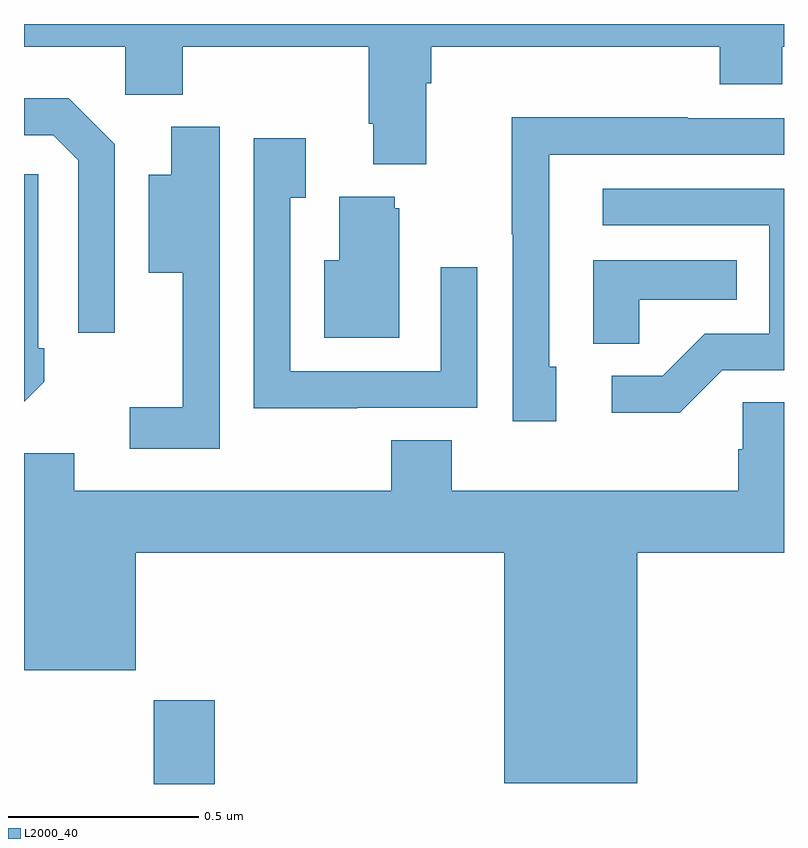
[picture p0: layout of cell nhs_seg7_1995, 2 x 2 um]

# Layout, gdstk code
import gdstk
lib = gdstk.Library(unit=1e-6, precision=1e-09)
def R(c, l, rs):  # rectangles x0, y0, x1, y1
    for r in rs: c.add(gdstk.rectangle(r[:2], r[2:], *l))
def P(c, l, *ps):  # polygons
    for p in ps: c.add(gdstk.Polygon(p, *l))
L2000_40 = (2000, 40)

nhs_seg7_1995 = lib.new_cell('nhs_seg7_1995')
R(nhs_seg7_1995, L2000_40, [(139.342,1008,139.502,1008.22)])
P(nhs_seg7_1995, L2000_40, [(140.059,1009.844),(140.072,1009.844),(140.072,1009.94),(140.831,1009.94),(140.831,1009.841),(140.996,1009.841),(140.996,1009.94),(141,1009.94),(141,1010),(139,1010),(139,1009.94),(139.266,1009.94),(139.266,1009.814),(139.418,1009.814),(139.418,1009.94),(139.907,1009.94),(139.907,1009.738),(139.919,1009.738),(139.919,1009.631),(140.059,1009.631)],
  [(139.239,1009.683),(139.118,1009.804),(139,1009.804),(139,1009.707),(139.077,1009.707),(139.143,1009.641),(139.143,1009.188),(139.239,1009.188)],
  [(140.401,1009.098),(140.382,1009.098),(140.382,1009.656),(141,1009.656),(141,1009.752),(140.747,1009.752),(140.747,1009.754),(140.284,1009.754),(140.284,1009.447),(140.286,1009.447),(140.286,1008.954),(140.401,1008.954)],
  [(139.515,1009.729),(139.388,1009.729),(139.388,1009.603),(139.328,1009.603),(139.328,1009.346),(139.418,1009.346),(139.418,1008.991),(139.278,1008.991),(139.278,1008.882),(139.515,1008.882)],
  [(139.877,1008.99),(140.193,1008.99),(140.193,1009.36),(140.097,1009.36),(140.097,1009.086),(139.701,1009.086),(139.701,1009.543),(139.741,1009.543),(139.741,1009.699),(139.605,1009.699),(139.605,1008.989),(139.877,1008.989)],
  [(139.053,1009.059),(139.053,1009.147),(139.038,1009.147),(139.038,1009.605),(139,1009.605),(139,1009.006)],
  [(140.838,1009.089),(141,1009.089),(141,1009.566),(140.523,1009.566),(140.523,1009.47),(140.961,1009.47),(140.961,1009.185),(140.792,1009.185),(140.681,1009.074),(140.547,1009.074),(140.547,1008.977),(140.725,1008.977)],
  [(139.987,1009.515),(139.976,1009.515),(139.976,1009.546),(139.829,1009.546),(139.829,1009.378),(139.79,1009.378),(139.79,1009.175),(139.987,1009.175)],
  [(140.619,1009.274),(140.876,1009.274),(140.876,1009.378),(140.498,1009.378),(140.498,1009.159),(140.619,1009.159)],
  [(140.614,1008.608),(141,1008.608),(141,1009.004),(140.892,1009.004),(140.892,1008.881),(140.879,1008.881),(140.879,1008.772),(140.126,1008.772),(140.126,1008.905),(139.966,1008.905),(139.966,1008.772),(139.132,1008.772),(139.132,1008.87),(139,1008.87),(139,1008.299),(139.294,1008.299),(139.294,1008.608),(140.264,1008.608),(140.264,1008.002),(140.614,1008.002)])

lib.write_gds('nhs_seg7_1995.gds')
